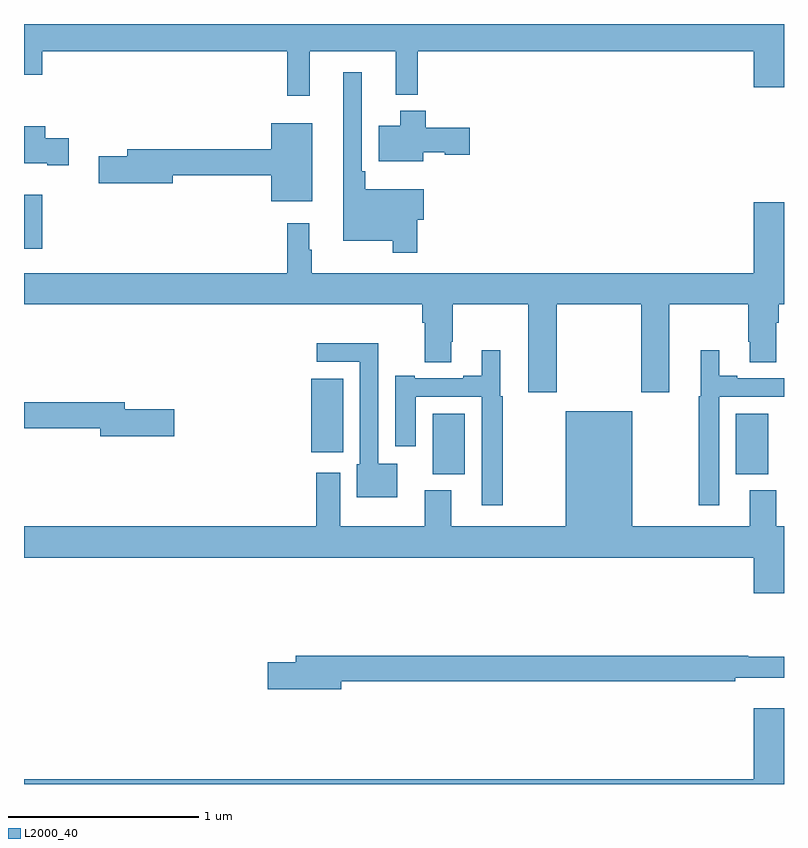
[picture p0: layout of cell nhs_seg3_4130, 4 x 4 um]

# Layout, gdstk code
import gdstk
lib = gdstk.Library(unit=1e-6, precision=1e-09)
def R(c, l, rs):  # rectangles x0, y0, x1, y1
    for r in rs: c.add(gdstk.rectangle(r[:2], r[2:], *l))
def P(c, l, *ps):  # polygons
    for p in ps: c.add(gdstk.Polygon(p, *l))
L2000_40 = (2000, 40)

nhs_seg3_4130 = lib.new_cell('nhs_seg3_4130')
R(nhs_seg3_4130, L2000_40, [(331.151,692.03,331.321,692.35), (332.747,692.03,332.917,692.35), (330.512,692.147,330.679,692.533), (329,693.216,329.096,693.502)])
P(nhs_seg3_4130, L2000_40, [(330.503,694.256),(330.956,694.256),(330.956,694.028),(331.073,694.028),(331.073,694.256),(332.84,694.256),(332.84,694.068),(333,694.068),(333,694.4),(329,694.4),(329,694.132),(329.096,694.132),(329.096,694.256),(330.385,694.256),(330.385,694.023),(330.503,694.023)],
  [(331.07,693.371),(331.105,693.371),(331.105,693.529),(330.797,693.529),(330.797,693.625),(330.777,693.625),(330.777,694.147),(330.68,694.147),(330.68,693.26),(330.942,693.26),(330.942,693.195),(331.07,693.195)],
  [(331.102,693.725),(331.215,693.725),(331.215,693.713),(331.345,693.713),(331.345,693.855),(331.115,693.855),(331.115,693.943),(330.98,693.943),(330.98,693.865),(330.866,693.865),(330.866,693.677),(331.102,693.677)],
  [(330.517,693.877),(330.302,693.877),(330.302,693.74),(329.543,693.74),(329.543,693.704),(329.394,693.704),(329.394,693.562),(329.782,693.562),(329.782,693.604),(330.302,693.604),(330.302,693.467),(330.517,693.467)],
  [(329.236,693.798),(329.111,693.798),(329.111,693.862),(329,693.862),(329,693.668),(329.123,693.668),(329.123,693.656),(329.236,693.656)],
  [(331.803,692.924),(332.248,692.924),(332.248,692.463),(332.395,692.463),(332.395,692.924),(332.812,692.924),(332.812,692.728),(332.819,692.728),(332.819,692.62),(332.959,692.62),(332.959,692.828),(332.972,692.828),(332.972,692.924),(333,692.924),(333,693.463),(332.84,693.463),(332.84,693.088),(330.514,693.088),(330.514,693.212),(330.502,693.212),(330.502,693.352),(330.385,693.352),(330.385,693.088),(329,693.088),(329,692.924),(331.097,692.924),(331.097,692.828),(331.109,692.828),(331.109,692.62),(331.249,692.62),(331.249,692.728),(331.257,692.728),(331.257,692.924),(331.655,692.924),(331.655,692.463),(331.803,692.463)],
  [(330.964,692.086),(330.864,692.086),(330.864,692.72),(330.54,692.72),(330.54,692.622),(330.768,692.622),(330.768,692.082),(330.752,692.082),(330.752,691.91),(330.964,691.91)],
  [(332.658,692.439),(333,692.439),(333,692.535),(332.755,692.535),(332.755,692.548),(332.659,692.548),(332.659,692.683),(332.561,692.683),(332.561,692.442),(332.55,692.442),(332.55,691.866),(332.658,691.866)],
  [(331.519,692.442),(331.507,692.442),(331.507,692.683),(331.409,692.683),(331.409,692.548),(331.313,692.548),(331.313,692.535),(331.057,692.535),(331.057,692.548),(330.953,692.548),(330.953,692.178),(331.063,692.178),(331.063,692.439),(331.41,692.439),(331.41,691.866),(331.519,691.866)],
  [(329.791,692.372),(329.53,692.372),(329.53,692.408),(329,692.408),(329,692.272),(329.402,692.272),(329.402,692.23),(329.791,692.23)],
  [(333,691.756),(332.959,691.756),(332.959,691.945),(332.819,691.945),(332.819,691.756),(332.2,691.756),(332.2,692.362),(331.85,692.362),(331.85,691.756),(331.249,691.756),(331.249,691.945),(331.109,691.945),(331.109,691.756),(330.664,691.756),(330.664,692.038),(330.539,692.038),(330.539,691.756),(329,691.756),(329,691.592),(332.84,691.592),(332.84,691.404),(333,691.404)],
  [(330.67,690.94),(332.744,690.94),(332.744,690.959),(333,690.959),(333,691.069),(332.812,691.069),(332.812,691.076),(330.431,691.076),(330.431,691.04),(330.282,691.04),(330.282,690.898),(330.67,690.898)],
  [(333,690.799),(332.84,690.799),(332.84,690.424),(329,690.424),(329,690.4),(333,690.4)])

lib.write_gds('nhs_seg3_4130.gds')
